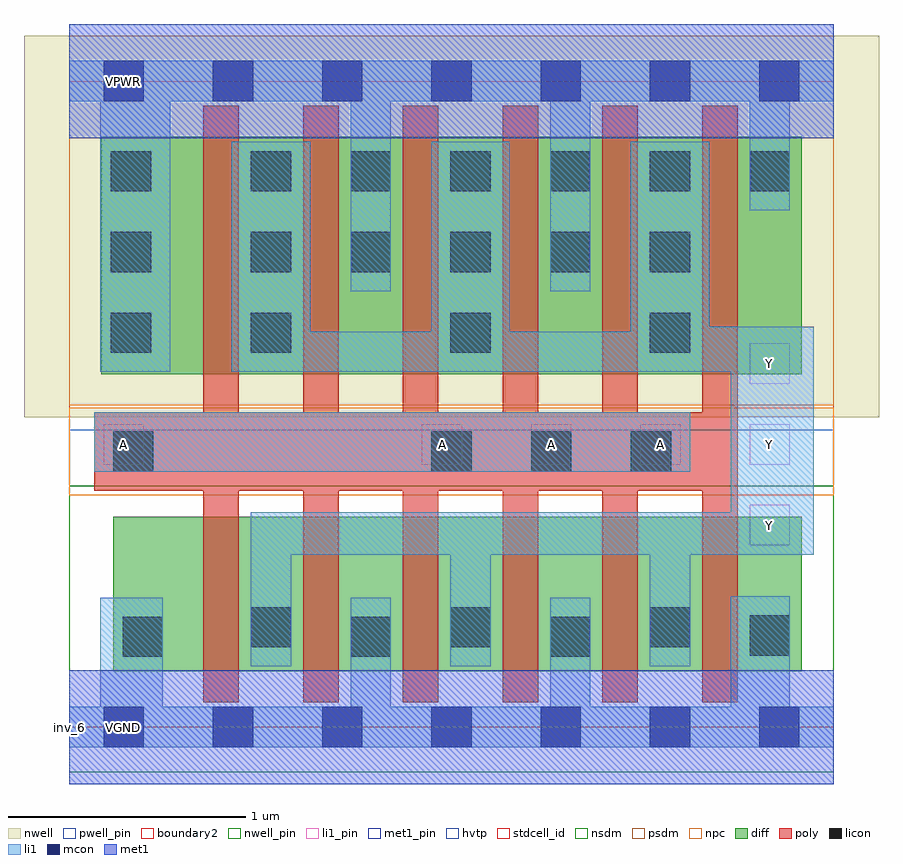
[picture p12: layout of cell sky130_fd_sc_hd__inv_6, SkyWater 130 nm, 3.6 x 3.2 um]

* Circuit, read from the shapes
.subckt sky130_fd_sc_hd__inv_6 A VGND VNB VPB VPWR Y
XM1 Y A VGND VNB sky130_fd_pr__nfet_01v8 w=0.65 l=0.15 m=6
XM2 Y A VPWR VPB sky130_fd_pr__pfet_01v8_hvt w=1 l=0.15 m=6
.ends

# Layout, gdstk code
import gdstk
lib = gdstk.Library(unit=1e-6, precision=1e-09)
def R(c, l, rs):  # rectangles x0, y0, x1, y1
    for r in rs: c.add(gdstk.rectangle(r[:2], r[2:], *l))
def A(c, l, x, y, w, h, nx, ny, dx, dy):  # array of equal rectangles
    R(c, l, [(x+i*dx, y+j*dy, x+i*dx+w, y+j*dy+h) for i in range(nx) for j in range(ny)])
def P(c, l, *ps):  # polygons
    for p in ps: c.add(gdstk.Polygon(p, *l))
nwell_pin = (64, 16)
nwell = (64, 20)
diff = (65, 20)
poly = (66, 20)
licon = (66, 44)
li1_pin = (67, 16)
li1 = (67, 20)
mcon = (67, 44)
met1_pin = (68, 16)
met1 = (68, 20)
hvtp = (78, 44)
stdcell_id = (81, 4)
nsdm = (93, 44)
psdm = (94, 20)
npc = (95, 20)
pwell_pin = (122, 16)
boundary2 = (236, 0)

sky130_fd_sc_hd__inv_6 = lib.new_cell('sky130_fd_sc_hd__inv_6')
R(sky130_fd_sc_hd__inv_6, nwell_pin, [(0.145,2.635,0.315,2.805)])
R(sky130_fd_sc_hd__inv_6, nwell, [(-0.19,1.305,3.41,2.91)])
R(sky130_fd_sc_hd__inv_6, diff, [(0.185,0.235,3.085,0.885), (0.135,1.485,3.085,2.485)])
P(sky130_fd_sc_hd__inv_6, poly, [(0.565,0.105),(0.565,0.995),(0.105,0.995),(0.105,1.325),(0.565,1.325),(0.565,2.615),(0.715,2.615),(0.715,1.325),(0.985,1.325),(0.985,2.615),(1.135,2.615),(1.135,1.325),(1.405,1.325),(1.405,2.615),(1.555,2.615),(1.555,1.325),(1.825,1.325),(1.825,2.615),(1.975,2.615),(1.975,1.325),(2.245,1.325),(2.245,2.615),(2.395,2.615),(2.395,1.325),(2.665,1.325),(2.665,2.615),(2.815,2.615),(2.815,0.105),(2.665,0.105),(2.665,0.995),(2.395,0.995),(2.395,0.105),(2.245,0.105),(2.245,0.995),(1.975,0.995),(1.975,0.105),(1.825,0.105),(1.825,0.995),(1.555,0.995),(1.555,0.105),(1.405,0.105),(1.405,0.995),(1.135,0.995),(1.135,0.105),(0.985,0.105),(0.985,0.995),(0.715,0.995),(0.715,0.105)])
A(sky130_fd_sc_hd__inv_6, licon, 0.765, 0.335, 0.17, 0.17, 3, 2, 0.84, 1.24)
A(sky130_fd_sc_hd__inv_6, licon, 1.525, 1.075, 0.17, 0.17, 3, 1, 0.42, 0)
A(sky130_fd_sc_hd__inv_6, licon, 0.175, 1.575, 0.17, 0.17, 1, 3, 0, 0.34)
A(sky130_fd_sc_hd__inv_6, licon, 0.765, 1.915, 0.17, 0.17, 5, 1, 0.42, 0)
A(sky130_fd_sc_hd__inv_6, licon, 0.765, 2.255, 0.17, 0.17, 6, 1, 0.42, 0)
R(sky130_fd_sc_hd__inv_6, licon, [(0.225,0.295,0.395,0.465), (1.185,0.295,1.355,0.465), (2.025,0.295,2.195,0.465), (2.865,0.3,3.035,0.47), (0.185,1.075,0.355,1.245)])
A(sky130_fd_sc_hd__inv_6, li1_pin, 1.485, 1.105, 0.17, 0.17, 4, 1, 0.46, 0)
R(sky130_fd_sc_hd__inv_6, li1_pin, [(2.865,0.765,3.035,0.935), (0.145,1.105,0.315,1.275), (2.865,1.445,3.035,1.615)])
R(sky130_fd_sc_hd__inv_6, li1, [(0.105,1.075,2.615,1.325)])
P(sky130_fd_sc_hd__inv_6, li1, [(0.765,0.255),(0.765,0.905),(2.785,0.905),(2.785,1.495),(0.685,1.495),(0.685,2.465),(1.015,2.465),(1.015,1.665),(1.525,1.665),(1.525,2.465),(1.855,2.465),(1.855,1.665),(2.365,1.665),(2.365,2.465),(2.695,2.465),(2.695,1.685),(3.135,1.685),(3.135,0.725),(2.615,0.725),(2.615,0.255),(2.445,0.255),(2.445,0.725),(1.775,0.725),(1.775,0.255),(1.605,0.255),(1.605,0.725),(0.935,0.725),(0.935,0.255)],
  [(0.13,1.495),(0.13,2.635),(0,2.635),(0,2.805),(3.22,2.805),(3.22,2.635),(3.035,2.635),(3.035,2.175),(2.865,2.175),(2.865,2.635),(2.195,2.635),(2.195,1.835),(2.025,1.835),(2.025,2.635),(1.355,2.635),(1.355,1.835),(1.185,1.835),(1.185,2.635),(0.425,2.635),(0.425,1.495)],
  [(0,-0.085),(0,0.085),(0.13,0.085),(0.13,0.545),(0.395,0.545),(0.395,0.085),(1.185,0.085),(1.185,0.545),(1.355,0.545),(1.355,0.085),(2.025,0.085),(2.025,0.545),(2.195,0.545),(2.195,0.085),(2.785,0.085),(2.785,0.55),(3.035,0.55),(3.035,0.085),(3.22,0.085),(3.22,-0.085)])
A(sky130_fd_sc_hd__inv_6, mcon, 0.145, -0.085, 0.17, 0.17, 7, 2, 0.46, 2.72)
R(sky130_fd_sc_hd__inv_6, met1_pin, [(0.145,-0.085,0.315,0.085), (0.145,2.635,0.315,2.805)])
R(sky130_fd_sc_hd__inv_6, hvtp, [(0,1.25,3.22,2.72)])
R(sky130_fd_sc_hd__inv_6, stdcell_id, [(0,0,3.22,2.72)])
R(sky130_fd_sc_hd__inv_6, nsdm, [(0,-0.19,3.22,1.015)])
R(sky130_fd_sc_hd__inv_6, psdm, [(0,1.355,3.22,2.91)])
R(sky130_fd_sc_hd__inv_6, npc, [(0,0.975,3.22,1.345)])
R(sky130_fd_sc_hd__inv_6, pwell_pin, [(0.145,-0.085,0.315,0.085)])
R(sky130_fd_sc_hd__inv_6, boundary2, [(0,0,3.22,2.72)])
sky130_fd_sc_hd__inv_6.add(gdstk.FlexPath([(0,2.72),(3.22,2.72)], 0.48, ends="flush", simple_path=True, layer=68, datatype=20))  # met1
sky130_fd_sc_hd__inv_6.add(gdstk.FlexPath([(0,0),(3.22,0)], 0.48, ends="flush", simple_path=True, layer=68, datatype=20))  # met1
sky130_fd_sc_hd__inv_6.add(gdstk.Label('Y', (2.95,0.85), layer=67, texttype=5))
sky130_fd_sc_hd__inv_6.add(gdstk.Label('Y', (2.95,1.19), layer=67, texttype=5))
sky130_fd_sc_hd__inv_6.add(gdstk.Label('Y', (2.95,1.53), layer=67, texttype=5))
sky130_fd_sc_hd__inv_6.add(gdstk.Label('A', (0.23,1.19), layer=67, texttype=5))
sky130_fd_sc_hd__inv_6.add(gdstk.Label('A', (1.57,1.19), layer=67, texttype=5))
sky130_fd_sc_hd__inv_6.add(gdstk.Label('A', (2.03,1.19), layer=67, texttype=5))
sky130_fd_sc_hd__inv_6.add(gdstk.Label('A', (2.49,1.19), layer=67, texttype=5))
sky130_fd_sc_hd__inv_6.add(gdstk.Label('VPWR', (0.23,2.72), layer=68, texttype=5))
sky130_fd_sc_hd__inv_6.add(gdstk.Label('VGND', (0.23,0), layer=68, texttype=5))
sky130_fd_sc_hd__inv_6.add(gdstk.Label('VPB', (0.23,2.72), layer=64, texttype=5))
sky130_fd_sc_hd__inv_6.add(gdstk.Label('VNB', (0.23,0), layer=64, texttype=59))
sky130_fd_sc_hd__inv_6.add(gdstk.Label('inv_6', (0,0), layer=83, texttype=44))

lib.write_gds('sky130_fd_sc_hd__inv_6.gds')
